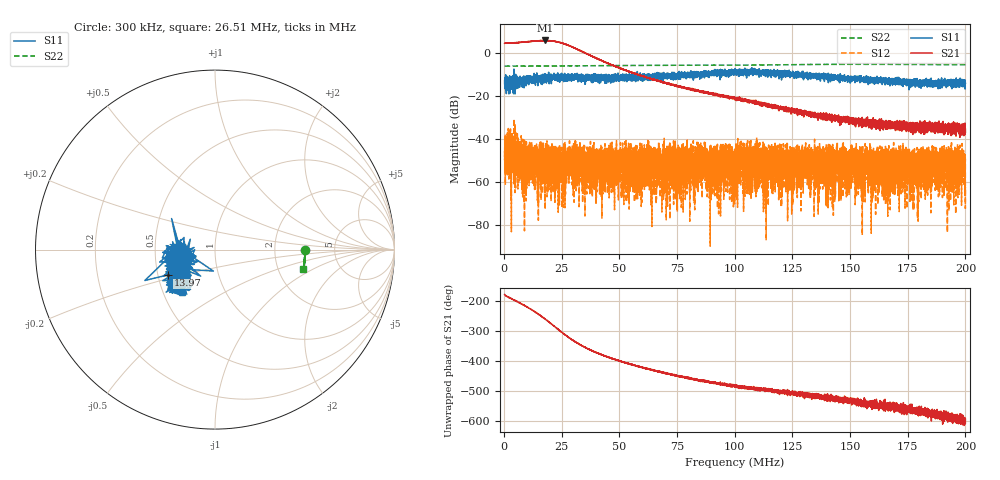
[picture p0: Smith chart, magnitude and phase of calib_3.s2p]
# Hz S DB R 50
! CMT, M5065, 19127446, 24.2.4/2
! Date: 11/8/2024 3:34:31 PM
! Data: Format (Calibration Info)
! Freq	S11:dB/Ang(F2)	S21:dB/Ang(F2)	S12:dB/Ang(F2)	S22:dB/Ang(F2)
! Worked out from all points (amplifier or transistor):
!   9000 points, 300 kHz to 200 MHz, reference 50 ohm
!   highest |S21| = 5.9 dB at 17.81 MHz (marker M1)
!   |S21| within 3 dB of that: start of sweep to 29.41 MHz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
!   unconditionally stable (mu >= 1): start of sweep to end of sweep
!   at 33.59 MHz: K = 145.12, MAG = 2.5 dB, |S12| = -53.4 dB
!   at 100.2 MHz: K = 610.58, MAG = -18.8 dB, |S12| = -45.0 dB
!   at 200 MHz: K = 30612.04, MAG = -35.1 dB, |S12| = -62.3 dB
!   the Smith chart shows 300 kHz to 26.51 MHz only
!   S11 on the Smith chart (normalised r, x): 300 kHz: 0.63, -0.02; 13.97 MHz: 0.57, -0.18; 26.51 MHz: 0.62, -0.33
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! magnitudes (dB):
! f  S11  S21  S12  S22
! 300 kHz  -12.8  4.6  -45.6  -6.0
! 2.164 MHz  -11.6  4.7  -40.7  -6.0
! 9.021 MHz  -11.9  5.2  -51.2  -6.0
! 11.02 MHz  -12.3  5.4  -51.7  -6.0
! 13.97 MHz  -10.6  5.7  -52.2  -6.0
! 17.81 MHz  -9.5  5.9  -69.3  -6.0
! 26.51 MHz  -10.4  4.3  -46.3  -6.0
! 33.59 MHz  -11.6  0.9  -53.4  -5.9
! 66.87 MHz  -10.0  -12.9  -46.2  -5.6
! 100.2 MHz  -8.2  -21.0  -45.0  -5.5
! 133.4 MHz  -11.2  -28.1  -52.7  -5.3
! 144.7 MHz  -11.6  -29.8  -48.9  -5.2
! 146.1 MHz  -11.5  -31.1  -50.5  -5.2
! 154.1 MHz  -11.8  -31.3  -61.9  -5.2
! 156 MHz  -11.1  -32.2  -54.0  -5.2
! 157.9 MHz  -11.5  -32.7  -65.0  -5.2
! 160.1 MHz  -11.9  -33.2  -52.9  -5.2
! 163.6 MHz  -13.0  -32.3  -52.6  -5.2
! 166.7 MHz  -12.5  -32.3  -49.2  -5.2
! 194.6 MHz  -15.5  -34.5  -50.0  -5.3
! 198.6 MHz  -14.0  -33.0  -52.2  -5.4
! 200 MHz  -14.0  -36.8  -62.3  -5.3
